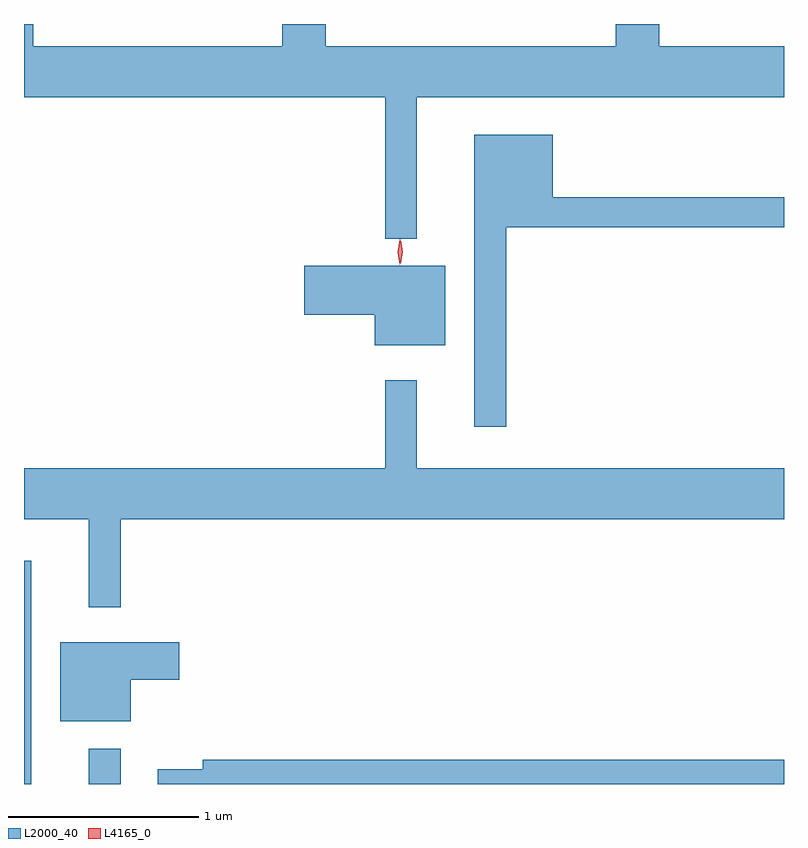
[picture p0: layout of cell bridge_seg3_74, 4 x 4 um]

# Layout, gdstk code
import gdstk
lib = gdstk.Library(unit=1e-6, precision=1e-09)
def R(c, l, rs):  # rectangles x0, y0, x1, y1
    for r in rs: c.add(gdstk.rectangle(r[:2], r[2:], *l))
def P(c, l, *ps):  # polygons
    for p in ps: c.add(gdstk.Polygon(p, *l))
L2000_40 = (2000, 40)
L4165_0 = (4165, 0)

bridge_seg3_74 = lib.new_cell('bridge_seg3_74')
R(bridge_seg3_74, L2000_40, [(1139.561,1177.902,1139.599,1179.078), (1139.901,1177.902,1140.069,1178.088)])
P(bridge_seg3_74, L2000_40, [(1141.629,1181.516),(1143.561,1181.516),(1143.561,1181.784),(1142.904,1181.784),(1142.904,1181.902),(1142.676,1181.902),(1142.676,1181.784),(1141.149,1181.784),(1141.149,1181.902),(1140.921,1181.902),(1140.921,1181.784),(1139.609,1181.784),(1139.609,1181.902),(1139.561,1181.902),(1139.561,1181.516),(1141.461,1181.516),(1141.461,1180.773),(1141.629,1180.773)],
  [(1142.099,1180.831),(1143.561,1180.831),(1143.561,1180.989),(1142.344,1180.989),(1142.344,1181.319),(1141.931,1181.319),(1141.931,1179.783),(1142.099,1179.783)],
  [(1141.779,1180.629),(1141.036,1180.629),(1141.036,1180.371),(1141.406,1180.371),(1141.406,1180.211),(1141.779,1180.211)],
  [(1140.069,1179.296),(1143.561,1179.296),(1143.561,1179.564),(1141.629,1179.564),(1141.629,1180.028),(1141.461,1180.028),(1141.461,1179.564),(1139.561,1179.564),(1139.561,1179.296),(1139.901,1179.296),(1139.901,1178.833),(1140.069,1178.833)],
  [(1140.124,1178.451),(1140.379,1178.451),(1140.379,1178.649),(1139.751,1178.649),(1139.751,1178.231),(1140.124,1178.231)],
  [(1143.561,1178.029),(1140.501,1178.029),(1140.501,1177.979),(1140.266,1177.979),(1140.266,1177.902),(1143.561,1177.902)])
P(bridge_seg3_74, L4165_0, [(1141.538,1180.634),(1141.538,1180.634),(1141.528,1180.702),(1141.538,1180.77),(1141.538,1180.77),(1141.539,1180.77),(1141.548,1180.702),(1141.539,1180.634)],
  [(1141.544,1180.64),(1141.535,1180.704),(1141.544,1180.766),(1141.545,1180.767),(1141.545,1180.766),(1141.555,1180.704),(1141.545,1180.64),(1141.545,1180.64)])

lib.write_gds('bridge_seg3_74.gds')
